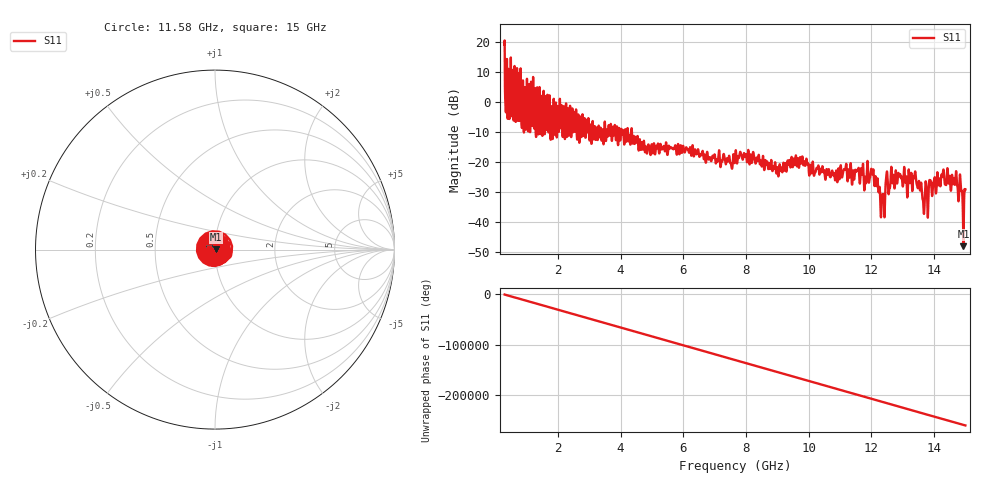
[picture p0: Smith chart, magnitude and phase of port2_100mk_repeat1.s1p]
# GHZ S RI R 50.0
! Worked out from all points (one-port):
!   12801 points, 300 MHz to 15 GHz, reference 50 ohm
!   lowest |S11| = -48.2 dB at 14.94 GHz (marker M1), VSWR 1.01, Z = 50.3 + j0.231 ohm
!   |S11| at or under -10 dB: 4.086 GHz to 4.142 GHz (56.18 MHz wide, 1.37 % of centre); 4.232 GHz to 4.342 GHz (110.6 MHz wide, 2.58 % of centre); 4.361 GHz to end of sweep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
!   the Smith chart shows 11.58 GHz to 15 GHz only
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0.3  -4.387 -7.783
0.3757969  3.315 -1.452
0.3826875  -1.193 -0.3357
0.4240313  -3.088 1.727
0.4309219  1.295 -0.3275
0.4435547  -0.4696 0.4015
0.4492969  0.2971 0.4383
0.7536328  0.5176 2.214
0.9121172  -0.3067 -0.061
1.206117  -0.1158 1.776
1.316367  0.0384 -0.3152
2.1375  -0.0954 0.3319
3.975  0.0716 0.2428
5.8125  0.1334 0.0772
7.65  0.0417 -0.0959
9.026977  -0.025 0.0527
9.4875  -0.0515 -0.0631
11.325  -0.0603 0.0371
12.01521  -0.0664 -0.00335
12.35745  -0.0265 -0.0102
12.65145  0.0629 -0.0163
13.1625  0.0245 0.021
13.39563  0.0451 -0.0518
13.73787  0.0247 -0.0395
14.24777  -0.0515 -0.0277
14.64398  -0.0177 0.0429
14.93798  0.00317 0.0023
15  0.0326 -0.0112
